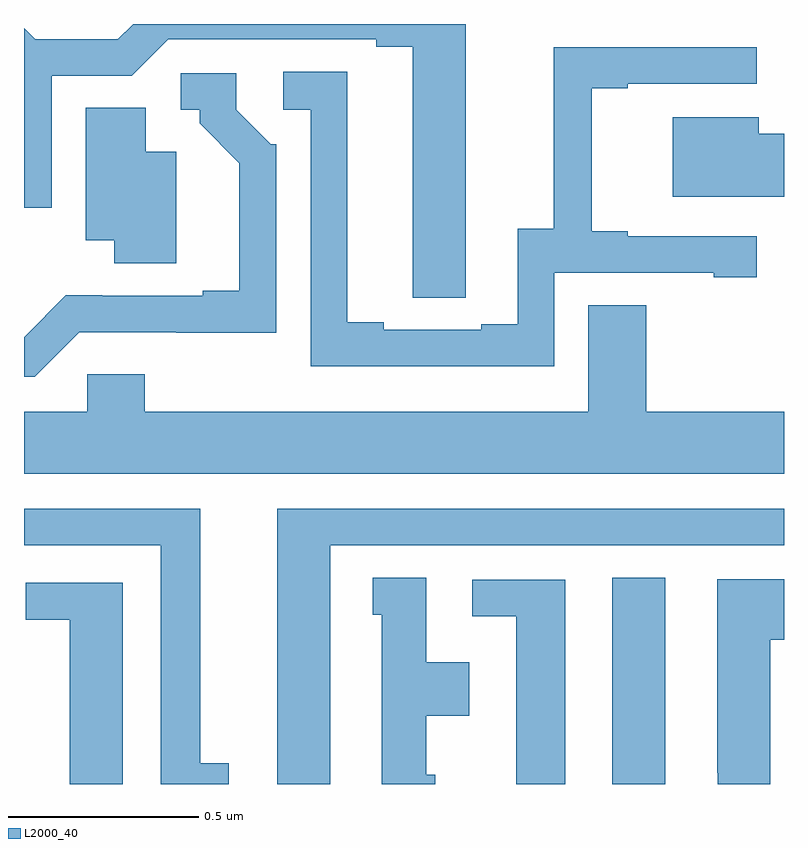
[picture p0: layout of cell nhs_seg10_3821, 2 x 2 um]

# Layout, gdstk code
import gdstk
lib = gdstk.Library(unit=1e-6, precision=1e-09)
def R(c, l, rs):  # rectangles x0, y0, x1, y1
    for r in rs: c.add(gdstk.rectangle(r[:2], r[2:], *l))
def P(c, l, *ps):  # polygons
    for p in ps: c.add(gdstk.Polygon(p, *l))
L2000_40 = (2000, 40)

nhs_seg10_3821 = lib.new_cell('nhs_seg10_3821')
R(nhs_seg10_3821, L2000_40, [(159.548,1299.5,159.688,1300.043)])
P(nhs_seg10_3821, L2000_40, [(159.162,1300.888),(159.163,1300.888),(159.163,1301.5),(158.287,1301.5),(158.247,1301.46),(158.029,1301.46),(158,1301.489),(158,1301.016),(158.073,1301.016),(158.073,1301.364),(158.283,1301.364),(158.379,1301.46),(158.927,1301.46),(158.927,1301.44),(159.023,1301.44),(159.023,1300.78),(159.162,1300.78)],
  [(159.396,1300.845),(159.815,1300.845),(159.815,1300.833),(159.928,1300.833),(159.928,1300.941),(159.589,1300.941),(159.589,1300.954),(159.494,1300.954),(159.494,1301.331),(159.589,1301.331),(159.589,1301.343),(159.928,1301.343),(159.928,1301.439),(159.394,1301.439),(159.394,1300.961),(159.299,1300.961),(159.299,1300.71),(159.203,1300.71),(159.203,1300.695),(158.947,1300.695),(158.947,1300.715),(158.851,1300.715),(158.851,1301.375),(158.682,1301.375),(158.682,1301.274),(158.754,1301.274),(158.754,1300.599),(159.396,1300.599)],
  [(158.145,1300.689),(158.401,1300.689),(158.401,1300.688),(158.664,1300.688),(158.664,1301.184),(158.649,1301.184),(158.559,1301.274),(158.559,1301.37),(158.412,1301.37),(158.412,1301.274),(158.462,1301.274),(158.462,1301.239),(158.567,1301.134),(158.567,1300.798),(158.471,1300.798),(158.471,1300.785),(158.206,1300.785),(158.206,1300.786),(158.11,1300.786),(158,1300.676),(158,1300.572),(158.028,1300.572)],
  [(158.401,1301.164),(158.32,1301.164),(158.32,1301.279),(158.162,1301.279),(158.162,1300.931),(158.237,1300.931),(158.237,1300.87),(158.401,1300.87)],
  [(160,1301.211),(159.934,1301.211),(159.934,1301.254),(159.707,1301.254),(159.707,1301.045),(160,1301.045)],
  [(160,1300.48),(159.638,1300.48),(159.638,1300.76),(159.485,1300.76),(159.485,1300.48),(158.318,1300.48),(158.318,1300.578),(158.166,1300.578),(158.166,1300.48),(158,1300.48),(158,1300.316),(160,1300.316)],
  [(158.806,1300.128),(160,1300.128),(160,1300.224),(158.666,1300.224),(158.666,1299.5),(158.806,1299.5)],
  [(158.539,1299.554),(158.464,1299.554),(158.464,1300.224),(158,1300.224),(158,1300.128),(158.36,1300.128),(158.36,1299.5),(158.539,1299.5)],
  [(159.082,1299.525),(159.058,1299.525),(159.058,1299.68),(159.172,1299.68),(159.172,1299.82),(159.058,1299.82),(159.058,1300.043),(158.918,1300.043),(158.918,1299.945),(158.942,1299.945),(158.942,1299.5),(159.082,1299.5)],
  [(159.964,1299.88),(160,1299.88),(160,1300.039),(159.824,1300.039),(159.824,1299.529),(159.825,1299.529),(159.825,1299.5),(159.964,1299.5)],
  [(159.424,1300.038),(159.18,1300.038),(159.18,1299.942),(159.296,1299.942),(159.296,1299.5),(159.424,1299.5)],
  [(158.26,1300.029),(158.004,1300.029),(158.004,1299.932),(158.12,1299.932),(158.12,1299.529),(158.121,1299.529),(158.121,1299.5),(158.26,1299.5)])

lib.write_gds('nhs_seg10_3821.gds')
